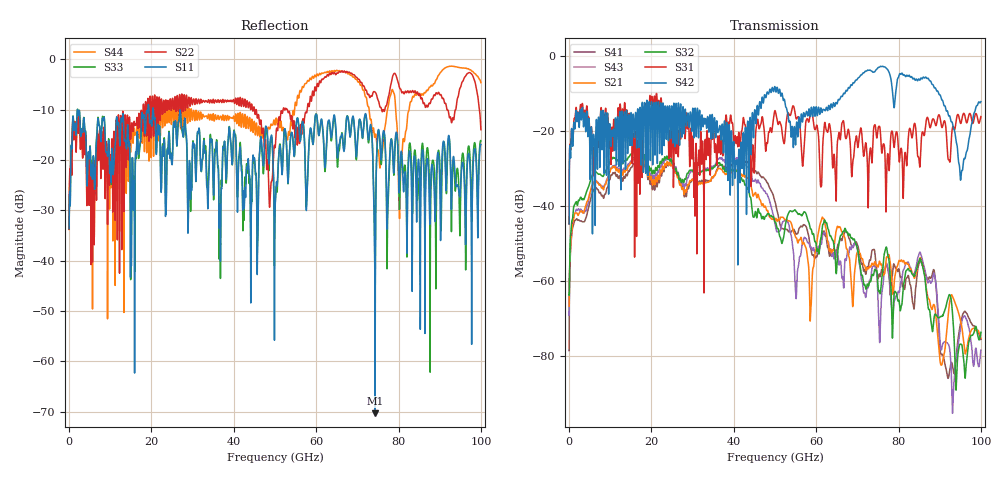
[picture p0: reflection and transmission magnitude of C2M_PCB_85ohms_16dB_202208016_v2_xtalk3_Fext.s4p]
! Info: Touchstone file created by Circ.  Input file=Intel_C2M_200G_5p0in_202208016_staggered.circ
# Hz S RI R 50
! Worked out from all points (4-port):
!   10000 points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, 10 MHz to 100 GHz, reference 50 ohm
!   strongest paths, dB at 10 MHz, 25.01 GHz, 50.01 GHz, 75.01 GHz, 100 GHz:
!     S42: -44.9, -14.7, -8.3, -3.2, -12.3
!     S31: -44.9, -18.6, -14.7, -19.6, -16.2
!     S32: -63.9, -28.7, -44.4, -61.5, -73.8
!     S21: -66.8, -29.2, -43.9, -56.4, -75.4
!     S43: -69.3, -28.3, -44.8, -65.1, -78.5
!     S41: -78.6, -28.9, -39.0, -59.5, -75.7
!   lowest |S11| = -70.3 dB at 74.33 GHz (marker M1), VSWR 1.00, Z = 50 + j0.0197 ohm
!   |S11| at or under -10 dB: start of sweep to 19.11 GHz; 19.39 GHz to 20.32 GHz (932.4 MHz wide, 4.7 % of centre); 20.46 GHz to end of sweep
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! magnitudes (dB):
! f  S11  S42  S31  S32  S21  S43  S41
! 10 MHz  -33.7  -44.9  -44.9  -63.9  -66.8  -69.3  -78.6
! 1.37 GHz  -12.8  -19.5  -16.8  -39.7  -42.1  -42.2  -44.0
! 16.95 GHz  -18.2  -24.5  -21.0  -25.0  -26.8  -26.4  -27.9
! 40.64 GHz  -20.7  -28.7  -22.8  -30.7  -30.5  -27.4  -28.0
! 74.33 GHz  -70.3  -4.1  -18.5  -57.0  -55.1  -56.3  -53.3
! 95.18 GHz  -23.3  -32.3  -18.0  -76.9  -71.4  -72.1  -70.9
! 100 GHz  -16.9  -12.3  -16.2  -73.8  -75.4  -78.5  -75.7
